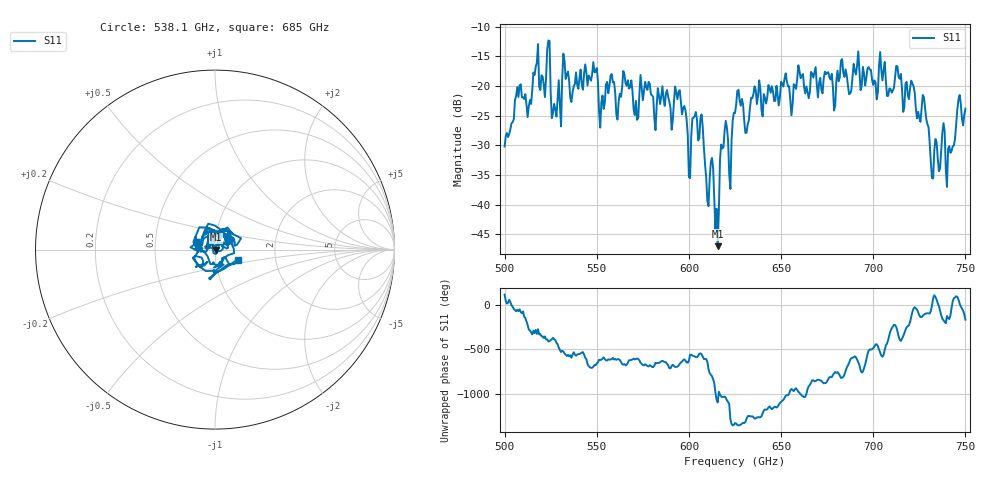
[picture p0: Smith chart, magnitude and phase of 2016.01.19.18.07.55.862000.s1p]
!Created with skrf (http://scikit-rf.org).
# GHz S RI R 50.0
!freq ReS11 ImS11
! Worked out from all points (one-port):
!   401 points, 500 GHz to 750 GHz, reference 50 ohm
!   lowest |S11| = -47.0 dB at 615.6 GHz (marker M1), VSWR 1.01, Z = 50.4 - j0.131 ohm
!   |S11| at or under -10 dB: start of sweep to end of sweep
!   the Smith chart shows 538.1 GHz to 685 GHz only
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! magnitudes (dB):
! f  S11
! 500 GHz  -30.2
! 507.5 GHz  -21.9
! 513.8 GHz  -22.4
! 516.9 GHz  -16.8
! 523.8 GHz  -12.3
! 526.9 GHz  -23.0
! 531.2 GHz  -18.7
! 548.8 GHz  -17.7
! 552.5 GHz  -22.8
! 558.1 GHz  -18.0
! 562.5 GHz  -21.3
! 593.8 GHz  -22.2
! 600 GHz  -35.4
! 603.1 GHz  -25.1
! 606.9 GHz  -24.8
! 610 GHz  -39.4
! 612.5 GHz  -32.1
! 615.6 GHz  -47.0
! 618.8 GHz  -30.3
! 622.5 GHz  -37.4
! 625 GHz  -24.6
! 656.2 GHz  -23.1
! 660.6 GHz  -18.7
! 687.5 GHz  -21.3
! 718.8 GHz  -21.6
! 728.1 GHz  -23.8
! 731.9 GHz  -35.5
! 750 GHz  -23.8
